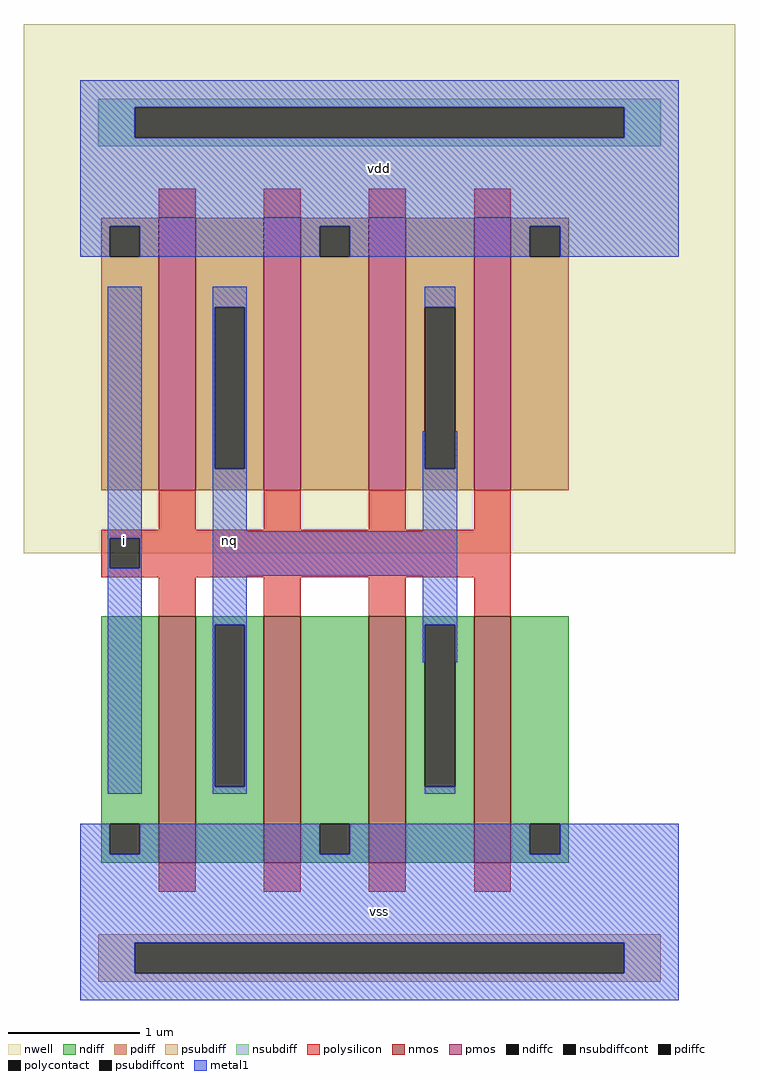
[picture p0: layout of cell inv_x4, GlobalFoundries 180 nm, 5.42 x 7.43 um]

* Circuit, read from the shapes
.subckt inv_x4 vss vdd nq i
XM1 nq i vss vss nfet_03v3 w=1.875u l=0.28u m=4
XM2 nq i vdd vdd pfet_03v3 w=2.075u l=0.28u m=4
.ends

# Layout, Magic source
magic
tech gf180mcuD
magscale 1 10
<< nwell >>
rect -86 680 998 1486
<< nmos >>
rect 120 209 176 584
rect 280 209 336 584
rect 440 209 496 584
rect 600 209 656 584
<< pmos >>
rect 120 776 176 1191
rect 280 776 336 1191
rect 440 776 496 1191
rect 600 776 656 1191
<< ndiff >>
rect 32 268 120 584
rect 32 222 45 268
rect 91 222 120 268
rect 32 209 120 222
rect 176 571 280 584
rect 176 325 205 571
rect 251 325 280 571
rect 176 209 280 325
rect 336 268 440 584
rect 336 222 365 268
rect 411 222 440 268
rect 336 209 440 222
rect 496 571 600 584
rect 496 325 525 571
rect 571 325 600 571
rect 496 209 600 325
rect 656 268 744 584
rect 656 222 685 268
rect 731 222 744 268
rect 656 209 744 222
<< pdiff >>
rect 32 1178 120 1191
rect 32 1132 45 1178
rect 91 1132 120 1178
rect 32 776 120 1132
rect 176 1055 280 1191
rect 176 809 205 1055
rect 251 809 280 1055
rect 176 776 280 809
rect 336 1178 440 1191
rect 336 1132 365 1178
rect 411 1132 440 1178
rect 336 776 440 1132
rect 496 1055 600 1191
rect 496 809 525 1055
rect 571 809 600 1055
rect 496 776 600 809
rect 656 1178 744 1191
rect 656 1132 685 1178
rect 731 1132 744 1178
rect 656 776 744 1132
<< ndiffc >>
rect 45 222 91 268
rect 205 325 251 571
rect 365 222 411 268
rect 525 325 571 571
rect 685 222 731 268
<< pdiffc >>
rect 45 1132 91 1178
rect 205 809 251 1055
rect 365 1132 411 1178
rect 525 809 571 1055
rect 685 1132 731 1178
<< psubdiff >>
rect 28 87 884 100
rect 28 41 83 87
rect 829 41 884 87
rect 28 28 884 41
<< nsubdiff >>
rect 28 1359 884 1372
rect 28 1313 83 1359
rect 829 1313 884 1359
rect 28 1300 884 1313
<< psubdiffcont >>
rect 83 41 829 87
<< nsubdiffcont >>
rect 83 1313 829 1359
<< polysilicon >>
rect 120 1191 176 1235
rect 280 1191 336 1235
rect 440 1191 496 1235
rect 600 1191 656 1235
rect 120 716 176 776
rect 280 716 336 776
rect 440 716 496 776
rect 600 716 656 776
rect 32 703 656 716
rect 32 657 45 703
rect 91 657 656 703
rect 32 644 656 657
rect 120 584 176 644
rect 280 584 336 644
rect 440 584 496 644
rect 600 584 656 644
rect 120 165 176 209
rect 280 165 336 209
rect 440 165 496 209
rect 600 165 656 209
<< polycontact >>
rect 45 657 91 703
<< metal1 >>
rect 0 1359 912 1400
rect 0 1313 83 1359
rect 829 1313 912 1359
rect 0 1178 912 1313
rect 0 1132 45 1178
rect 91 1132 365 1178
rect 411 1132 685 1178
rect 731 1132 912 1178
rect 42 703 94 1086
rect 42 657 45 703
rect 91 657 94 703
rect 42 314 94 657
rect 202 1055 254 1086
rect 202 809 205 1055
rect 251 809 254 1055
rect 525 1055 571 1086
rect 202 714 254 809
rect 522 809 525 866
rect 571 809 574 866
rect 522 714 574 809
rect 202 646 574 714
rect 202 571 254 646
rect 202 325 205 571
rect 251 325 254 571
rect 522 571 574 646
rect 522 514 525 571
rect 202 314 254 325
rect 571 514 574 571
rect 525 314 571 325
rect 0 222 45 268
rect 91 222 365 268
rect 411 222 685 268
rect 731 222 912 268
rect 0 87 912 222
rect 0 41 83 87
rect 829 41 912 87
rect 0 0 912 41
<< labels >>
rlabel metal1 s 0 0 912 268 4 vss
port 3 nsew
rlabel metal1 s 0 1132 912 1400 4 vdd
port 5 nsew
rlabel metal1 s 202 314 254 1086 4 nq
port 7 nsew
rlabel metal1 s 42 314 94 1086 4 i
port 9 nsew
<< end >>
